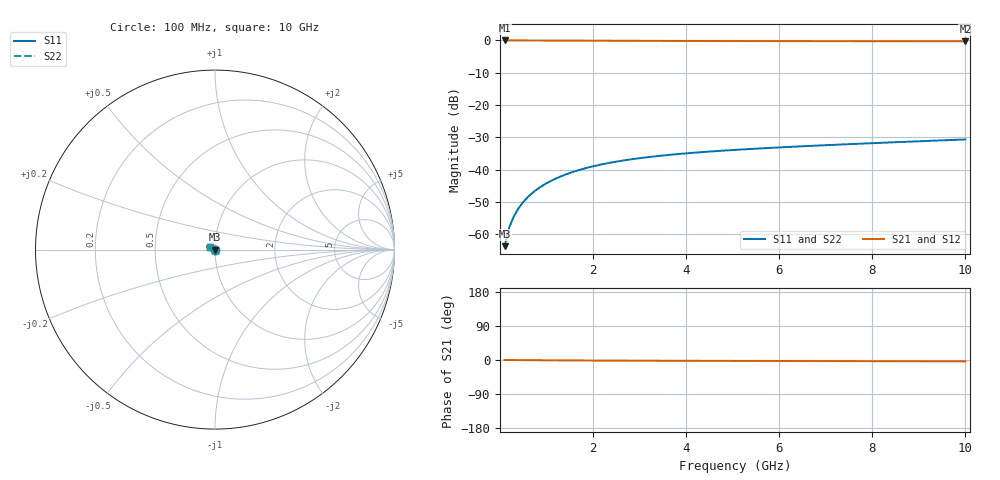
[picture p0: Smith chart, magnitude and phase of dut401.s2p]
! Touchstone file exported from HFSS 2024.1.0
!  File:  C:/UserFiles/LocalFiles/RDL_TSV_Batchsim/temp_TSV1_401_1779691519.aedt
!  Generated:  02:50:43 PM May 25, 2026
!  Design:  TSV1
!  Project:  temp_TSV1_401_1779691519
!  Setup:  Setup1
!  Solution:  Sweep
! Variables:
!  dtsv = 8.53um
!  hbump = 3um
!  htsv = 50.78um
!  lrdl = 252.1521522um
!  p = 40
!  p1 = 56.05um
!  t = 500um
!  trdl = 3um
!  wrdl = 24.89489489um
# GHz S MA R 50.000000
! Terminal data exported
! Port[1] = TSV22_T1
! Port[2] = TSV22_T2
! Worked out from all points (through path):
!   100 points, 100 MHz to 10 GHz, reference 50 ohm
!   highest |S21| = 0.00 dB at 100 MHz (marker M1); lowest = -0.3 dB at 10 GHz (marker M2)
!   lowest |S11| = -63.7 dB at 100 MHz (marker M3), VSWR 1.00, Z = 50 - j0.0641 ohm
!   |S11| at or under -10 dB: start of sweep to end of sweep
!   |S22| runs from -63.7 to -30.6 dB; largest |S21 - S12| = 2.2e-15
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0.1  0.0006539 -78.7  0.9998 -0.1  0.9998 -0.1  0.0006539 -78.7
! Gamma 0 0 0 0
! Port Impedance 50 0 50 0
0.2  0.001279 -87.7  0.9997 -0.2  0.9997 -0.2  0.001279 -87.7
0.3  0.001908 -92.3  0.9996 -0.2  0.9996 -0.2  0.001908 -92.3
0.4  0.002534 -95.8  0.9994 -0.3  0.9994 -0.3  0.002534 -95.8
0.5  0.003157 -98.8  0.9992 -0.4  0.9992 -0.4  0.003157 -98.8
0.6  0.003773 -101.5  0.9989 -0.5  0.9989 -0.5  0.003773 -101.5
0.7  0.004382 -104.1  0.9985 -0.6  0.9985 -0.6  0.004382 -104.1
0.8  0.004983 -106.5  0.9982 -0.6  0.9982 -0.6  0.004983 -106.5
0.9  0.005575 -108.9  0.9978 -0.7  0.9978 -0.7  0.005575 -108.9
1.1  0.006725 -113.5  0.9969 -0.9  0.9969 -0.9  0.006725 -113.5
1.4  0.008359 -119.9  0.9953 -1.1  0.9953 -1.1  0.008359 -119.9
1.6  0.009382 -124.0  0.9942 -1.2  0.9942 -1.2  0.009382 -124.0
1.8  0.01035 -127.9  0.9931 -1.3  0.9931 -1.3  0.01035 -127.9
2.1  0.01169 -133.5  0.9914 -1.4  0.9914 -1.4  0.01169 -133.5
2.5  0.0133 -140.4  0.9892 -1.6  0.9892 -1.6  0.0133 -140.4
2.9  0.01472 -146.8  0.9871 -1.8  0.9871 -1.8  0.01472 -146.8
3.4  0.01627 -154.0  0.9847 -1.9  0.9847 -1.9  0.01627 -154.0
4.2  0.01835 -164.1  0.9815 -2.2  0.9815 -2.2  0.01835 -164.1
5.1  0.02033 -173.8  0.9788 -2.4  0.9788 -2.4  0.02033 -173.8
6.7  0.02337 172.3  0.9754 -2.8  0.9754 -2.8  0.02337 172.3
8.4  0.02642 160.8  0.9731 -3.2  0.9731 -3.2  0.02642 160.8
10  0.02934 152.1  0.9716 -3.6  0.9716 -3.6  0.02934 152.1
